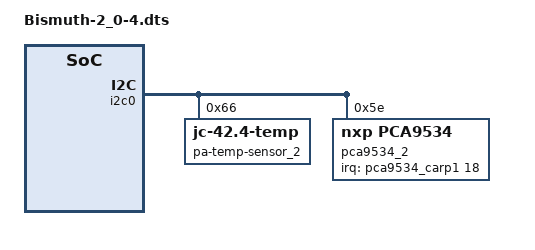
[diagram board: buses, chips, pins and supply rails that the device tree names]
/dts-v1/;
/plugin/;


/ {
    fragment@0 {
        target = <&i2c0>;
        __overlay__ {
            pa-temp-sensor_2@66 {
                compatible = "jedec,jc-42.4-temp";
                reg = <0x66>;
            };


            pca9534_2@5E {
                compatible = "nxp,pca9534";
                reg = <0x5E>;
                gpio-controller;
                #gpio-cells = <2>;
                interrupt-parent = <&pca9534_carp1>;
                interrupts = <18 2>; /* IRQ_TYPE_LEVEL_LOW IRQ_TYPE_EDGE_FALLING */
            };
        };
    };

    
};
